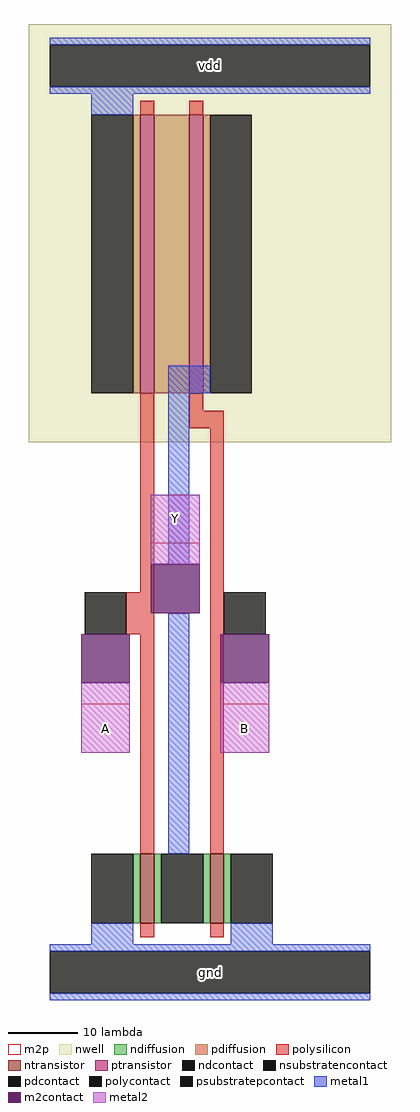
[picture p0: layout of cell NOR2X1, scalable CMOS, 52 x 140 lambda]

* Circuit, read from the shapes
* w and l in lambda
.subckt NOR2X1 A B Y vdd gnd
M1 Y A gnd gnd nfet w=10 l=2
M2 gnd B Y gnd nfet w=10 l=2
M3 n1 A vdd vdd pfet w=40 l=2
M4 Y B n1 vdd pfet w=40 l=2
.ends

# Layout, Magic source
magic
tech scmos
magscale 1 2
<< nwell >>
rect -12 152 92 272
<< ntransistor >>
rect 20 14 24 34
rect 40 14 44 34
<< ptransistor >>
rect 20 166 24 246
rect 34 166 38 246
<< ndiffusion >>
rect 18 14 20 34
rect 24 14 26 34
rect 38 14 40 34
rect 44 14 46 34
<< pdiffusion >>
rect 18 166 20 246
rect 24 166 34 246
rect 38 166 40 246
<< ndcontact >>
rect 6 14 18 34
rect 26 14 38 34
rect 46 14 58 34
<< pdcontact >>
rect 6 166 18 246
rect 40 166 52 246
<< psubstratepcontact >>
rect -6 -6 86 6
<< nsubstratencontact >>
rect -6 254 86 266
<< polysilicon >>
rect 20 246 24 250
rect 34 246 38 250
rect 20 109 24 166
rect 34 161 38 166
rect 34 156 44 161
rect 16 97 24 109
rect 20 34 24 97
rect 40 34 44 156
rect 20 10 24 14
rect 40 10 44 14
<< polycontact >>
rect 4 97 16 109
rect 44 97 56 109
<< metal1 >>
rect -6 266 86 268
rect -6 252 86 254
rect 6 246 18 252
rect 28 166 40 174
rect 28 117 34 166
rect 28 34 34 103
rect 6 8 18 14
rect 46 8 58 14
rect -6 6 86 8
rect -6 -8 86 -6
<< m2contact >>
rect 23 103 37 117
rect 3 83 17 97
rect 43 83 57 97
<< metal2 >>
rect 23 117 37 137
rect 3 63 17 83
rect 43 63 57 83
<< m2p >>
rect 23 123 37 137
rect 3 63 17 77
rect 43 63 57 77
<< labels >>
rlabel metal2 3 63 17 77 0 A
port 0 nsew signal input
rlabel metal2 43 63 57 77 0 B
port 1 nsew signal input
rlabel metal2 23 123 37 137 0 Y
port 2 nsew signal output
rlabel metal1 -6 252 86 268 0 vdd
port 3 nsew power bidirectional abutment
rlabel metal1 -6 -8 86 8 0 gnd
port 4 nsew ground bidirectional abutment
<< properties >>
string FIXED_BBOX 0 0 80 260
string LEFclass CORE
string LEFsite core
string LEFsymmetry X Y
<< end >>
